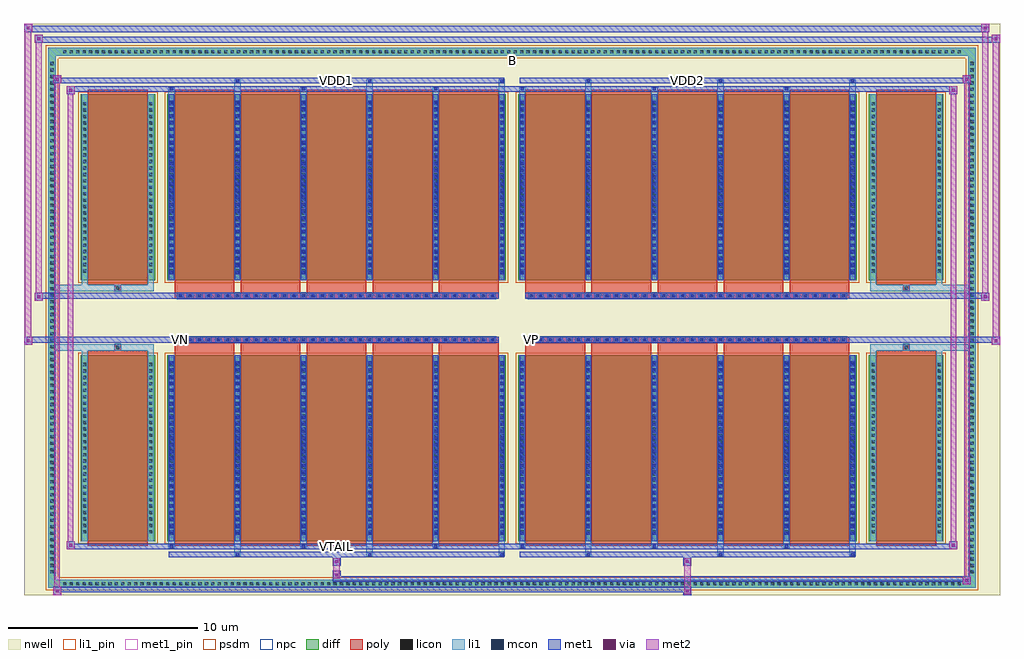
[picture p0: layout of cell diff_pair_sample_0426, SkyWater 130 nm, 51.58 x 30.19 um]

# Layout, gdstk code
import gdstk
lib = gdstk.Library(unit=1e-6, precision=5e-09)
def R(c, l, rs):  # rectangles x0, y0, x1, y1
    for r in rs: c.add(gdstk.rectangle(r[:2], r[2:], *l))
def A(c, l, x, y, w, h, nx, ny, dx, dy):  # array of equal rectangles
    R(c, l, [(x+i*dx, y+j*dy, x+i*dx+w, y+j*dy+h) for i in range(nx) for j in range(ny)])
def P(c, l, *ps):  # polygons
    for p in ps: c.add(gdstk.Polygon(p, *l))
nwell = (64, 20)
diff = (65, 20)
poly = (66, 20)
licon = (66, 44)
li1_pin = (67, 16)
li1 = (67, 20)
mcon = (67, 44)
met1_pin = (68, 16)
met1 = (68, 20)
via = (68, 44)
met2 = (69, 20)
psdm = (94, 20)
npc = (95, 20)

diff_pair_sample_0426 = lib.new_cell('diff_pair_sample_0426')
R(diff_pair_sample_0426, nwell, [(-25.79,-14.66,25.79,15.53), (-23.11,-12.85,-0.01,-0.795), (0.01,-12.85,23.11,-0.795), (-23.11,0.795,-0.01,12.85), (0.01,0.795,23.11,12.85)])
A(diff_pair_sample_0426, diff, -23.835, -14.26, 0.41, 0.41, 140, 2, 0.34, 28.11)
A(diff_pair_sample_0426, diff, -24.52, -13.635, 0.41, 0.41, 1, 80, 0, 0.34)
A(diff_pair_sample_0426, diff, 24.11, -13.635, 0.41, 0.41, 1, 80, 0, 0.34)
R(diff_pair_sample_0426, diff, [(-23.835,-14.26,23.835,-13.85), (-24.52,-13.635,-24.11,13.635), (24.11,-13.635,24.52,13.635), (-22.8,-11.805,-18.86,-1.985), (-18.22,-11.805,-0.32,-1.985), (0.32,-11.805,18.22,-1.985), (18.86,-11.805,22.8,-1.985), (-22.8,1.985,-18.86,11.805), (-18.22,1.985,-0.32,11.805), (0.32,1.985,18.22,11.805), (18.86,1.985,22.8,11.805), (-23.835,13.85,23.835,14.26)])
P(diff_pair_sample_0426, diff, [(24.52,14.26),(-24.52,14.26),(-24.52,-13.85),(-24.11,-13.85),(-24.11,13.85),(24.11,13.85),(24.11,-13.85),(-24.11,-13.85),(-24.52,-13.85),(-24.52,-14.26),(24.52,-14.26)])
A(diff_pair_sample_0426, poly, -17.83, -12.055, 3.16, 10.32, 5, 2, 3.49, 13.79)
A(diff_pair_sample_0426, poly, 0.71, -12.055, 3.16, 10.32, 5, 2, 3.49, 13.79)
A(diff_pair_sample_0426, poly, -17.83, -1.735, 3.16, 0.41, 5, 2, 3.49, 3.06)
A(diff_pair_sample_0426, poly, 0.71, -1.735, 3.16, 0.41, 5, 2, 3.49, 3.06)
A(diff_pair_sample_0426, poly, -17.685, -1.325, 0.33, 0.33, 34, 2, 0.5, 2.32)
A(diff_pair_sample_0426, poly, 0.855, -1.325, 0.33, 0.33, 34, 2, 0.5, 2.32)
R(diff_pair_sample_0426, poly, [(-22.41,-12.055,-19.25,-1.735), (19.25,-12.055,22.41,-1.735), (-20.995,-1.735,-20.665,-1.405), (-20.995,-1.735,-20.665,-1.405), (20.665,-1.735,20.995,-1.405), (20.665,-1.735,20.995,-1.405), (-17.83,-1.325,-0.71,-0.995), (0.71,-1.325,17.83,-0.995), (-17.83,0.995,-0.71,1.325), (0.71,0.995,17.83,1.325), (-20.995,1.405,-20.665,1.735), (-20.995,1.405,-20.665,1.735), (20.665,1.405,20.995,1.735), (20.665,1.405,20.995,1.735), (-22.41,1.735,-19.25,12.055), (19.25,1.735,22.41,12.055)])
A(diff_pair_sample_0426, licon, -23.715, -14.14, 0.17, 0.17, 140, 2, 0.34, 28.11)
A(diff_pair_sample_0426, licon, -24.4, -13.515, 0.17, 0.17, 1, 80, 0, 0.34)
A(diff_pair_sample_0426, licon, 24.23, -13.515, 0.17, 0.17, 1, 80, 0, 0.34)
A(diff_pair_sample_0426, licon, -22.66, -11.4, 0.17, 0.17, 1, 27, 0, 0.34)
A(diff_pair_sample_0426, licon, -19.17, -11.4, 0.17, 0.17, 1, 27, 0, 0.34)
A(diff_pair_sample_0426, licon, -18.08, -11.4, 0.17, 0.17, 6, 27, 3.49, 0.34)
A(diff_pair_sample_0426, licon, 0.46, -11.4, 0.17, 0.17, 6, 27, 3.49, 0.34)
A(diff_pair_sample_0426, licon, 19, -11.4, 0.17, 0.17, 1, 27, 0, 0.34)
A(diff_pair_sample_0426, licon, 22.49, -11.4, 0.17, 0.17, 1, 27, 0, 0.34)
A(diff_pair_sample_0426, licon, -17.605, -1.245, 0.17, 0.17, 34, 2, 0.5, 2.32)
A(diff_pair_sample_0426, licon, 0.935, -1.245, 0.17, 0.17, 34, 2, 0.5, 2.32)
A(diff_pair_sample_0426, licon, -22.66, 2.39, 0.17, 0.17, 1, 27, 0, 0.34)
A(diff_pair_sample_0426, licon, -19.17, 2.39, 0.17, 0.17, 1, 27, 0, 0.34)
A(diff_pair_sample_0426, licon, -18.08, 2.39, 0.17, 0.17, 6, 27, 3.49, 0.34)
A(diff_pair_sample_0426, licon, 0.46, 2.39, 0.17, 0.17, 6, 27, 3.49, 0.34)
A(diff_pair_sample_0426, licon, 19, 2.39, 0.17, 0.17, 1, 27, 0, 0.34)
A(diff_pair_sample_0426, licon, 22.49, 2.39, 0.17, 0.17, 1, 27, 0, 0.34)
R(diff_pair_sample_0426, licon, [(-20.915,-1.655,-20.745,-1.485), (20.745,-1.655,20.915,-1.485), (-20.915,1.485,-20.745,1.655), (20.745,1.485,20.915,1.655)])
R(diff_pair_sample_0426, li1_pin, [(-0.25,13.35,0.25,13.85)])
A(diff_pair_sample_0426, li1, -23.795, -14.22, 0.33, 0.33, 140, 2, 0.34, 28.11)
A(diff_pair_sample_0426, li1, -24.48, -13.595, 0.33, 0.33, 1, 80, 0, 0.34)
A(diff_pair_sample_0426, li1, 24.15, -13.595, 0.33, 0.33, 1, 80, 0, 0.34)
A(diff_pair_sample_0426, li1, -14.67, -12.61, 0.33, 0.805, 3, 2, 6.98, 24.415)
A(diff_pair_sample_0426, li1, -14.59, -12.61, 0.17, 0.17, 3, 2, 6.98, 25.05)
A(diff_pair_sample_0426, li1, 3.87, -12.61, 0.33, 0.805, 3, 2, 6.98, 24.415)
A(diff_pair_sample_0426, li1, 3.95, -12.61, 0.17, 0.17, 3, 2, 6.98, 25.05)
A(diff_pair_sample_0426, li1, -18.16, -12.18, 0.33, 0.375, 3, 2, 6.98, 23.985)
A(diff_pair_sample_0426, li1, -18.08, -12.18, 0.17, 0.17, 3, 2, 6.98, 24.19)
A(diff_pair_sample_0426, li1, 0.38, -12.18, 0.33, 0.375, 3, 2, 6.98, 23.985)
A(diff_pair_sample_0426, li1, 0.46, -12.18, 0.17, 0.17, 3, 2, 6.98, 24.19)
A(diff_pair_sample_0426, li1, -18.16, -11.805, 0.33, 9.82, 6, 2, 3.49, 13.79)
A(diff_pair_sample_0426, li1, 0.38, -11.805, 0.33, 9.82, 6, 2, 3.49, 13.79)
A(diff_pair_sample_0426, li1, -22.74, -11.48, 0.33, 0.33, 1, 27, 0, 0.34)
A(diff_pair_sample_0426, li1, -19.25, -11.48, 0.33, 0.33, 1, 27, 0, 0.34)
A(diff_pair_sample_0426, li1, -18.16, -11.48, 0.33, 0.33, 6, 27, 3.49, 0.34)
A(diff_pair_sample_0426, li1, -18.08, -11.48, 0.17, 0.17, 6, 26, 3.49, 0.36)
A(diff_pair_sample_0426, li1, -18.08, -11.48, 0.17, 9.17, 6, 2, 3.49, 13.79)
A(diff_pair_sample_0426, li1, 0.38, -11.48, 0.33, 0.33, 6, 27, 3.49, 0.34)
A(diff_pair_sample_0426, li1, 0.46, -11.48, 0.17, 0.17, 6, 26, 3.49, 0.36)
A(diff_pair_sample_0426, li1, 0.46, -11.48, 0.17, 9.17, 6, 2, 3.49, 13.79)
A(diff_pair_sample_0426, li1, 18.92, -11.48, 0.33, 0.33, 1, 27, 0, 0.34)
A(diff_pair_sample_0426, li1, 22.41, -11.48, 0.33, 0.33, 1, 27, 0, 0.34)
A(diff_pair_sample_0426, li1, -17.685, -1.325, 0.33, 0.33, 34, 2, 0.5, 2.32)
A(diff_pair_sample_0426, li1, 0.855, -1.325, 0.33, 0.33, 34, 2, 0.5, 2.32)
A(diff_pair_sample_0426, li1, -22.74, 2.31, 0.33, 0.33, 1, 27, 0, 0.34)
A(diff_pair_sample_0426, li1, -19.25, 2.31, 0.33, 0.33, 1, 27, 0, 0.34)
A(diff_pair_sample_0426, li1, -18.16, 2.31, 0.33, 0.33, 6, 27, 3.49, 0.34)
A(diff_pair_sample_0426, li1, -18.08, 2.31, 0.17, 0.17, 6, 26, 3.49, 0.36)
A(diff_pair_sample_0426, li1, 0.38, 2.31, 0.33, 0.33, 6, 27, 3.49, 0.34)
A(diff_pair_sample_0426, li1, 0.46, 2.31, 0.17, 0.17, 6, 26, 3.49, 0.36)
A(diff_pair_sample_0426, li1, 18.92, 2.31, 0.33, 0.33, 1, 27, 0, 0.34)
A(diff_pair_sample_0426, li1, 22.41, 2.31, 0.33, 0.33, 1, 27, 0, 0.34)
R(diff_pair_sample_0426, li1, [(-24.52,-14.26,-24.11,-13.85), (-24.52,-14.26,-24.11,-13.85), (-24.11,-14.26,24.11,-13.85), (24.11,-14.26,24.52,-13.85), (24.11,-14.26,24.52,-13.85), (-24.52,-13.85,-24.11,13.85), (24.11,-13.85,24.52,13.85), (-22.74,-11.805,-22.41,-1.985), (-19.25,-11.805,-18.92,-1.985), (18.92,-11.805,19.25,-1.985), (22.41,-11.805,22.74,-1.985), (-22.74,-1.985,-22.41,-1.405), (-19.25,-1.985,-18.92,-1.405), (18.92,-1.985,19.25,-1.405), (22.41,-1.985,22.74,-1.405), (-24.52,-1.735,-20.995,-1.405), (-22.74,-1.735,-20.995,-1.405), (-20.995,-1.735,-20.665,-1.405), (-20.665,-1.735,-18.92,-1.405), (18.92,-1.735,20.665,-1.405), (20.665,-1.735,20.995,-1.405), (20.665,-1.735,24.52,-1.405), (20.995,-1.735,22.74,-1.405), (-24.52,1.405,-20.995,1.735), (-22.74,1.405,-20.995,1.735), (-22.74,1.405,-22.41,1.985), (-20.995,1.405,-20.665,1.735), (-20.665,1.405,-18.92,1.735), (-19.25,1.405,-18.92,1.985), (18.92,1.405,20.665,1.735), (18.92,1.405,19.25,1.985), (20.665,1.405,20.995,1.735), (20.665,1.405,24.52,1.735), (20.995,1.405,22.74,1.735), (22.41,1.405,22.74,1.985), (-22.74,1.985,-22.41,11.805), (-19.25,1.985,-18.92,11.805), (18.92,1.985,19.25,11.805), (22.41,1.985,22.74,11.805), (-24.52,13.85,-24.11,14.26), (-24.52,13.85,-24.11,14.26), (-24.11,13.85,24.11,14.26), (24.11,13.85,24.52,14.26), (24.11,13.85,24.52,14.26)])
A(diff_pair_sample_0426, mcon, -14.59, -12.61, 0.17, 0.17, 3, 2, 6.98, 25.05)
A(diff_pair_sample_0426, mcon, 3.95, -12.61, 0.17, 0.17, 3, 2, 6.98, 25.05)
A(diff_pair_sample_0426, mcon, -18.08, -12.18, 0.17, 0.17, 3, 2, 6.98, 24.19)
A(diff_pair_sample_0426, mcon, 0.46, -12.18, 0.17, 0.17, 3, 2, 6.98, 24.19)
A(diff_pair_sample_0426, mcon, -18.08, -11.48, 0.17, 0.17, 6, 26, 3.49, 0.36)
A(diff_pair_sample_0426, mcon, 0.46, -11.48, 0.17, 0.17, 6, 26, 3.49, 0.36)
A(diff_pair_sample_0426, mcon, -17.605, -1.245, 0.17, 0.17, 34, 2, 0.5, 2.32)
A(diff_pair_sample_0426, mcon, 0.935, -1.245, 0.17, 0.17, 34, 2, 0.5, 2.32)
A(diff_pair_sample_0426, mcon, -18.08, 2.31, 0.17, 0.17, 6, 26, 3.49, 0.36)
A(diff_pair_sample_0426, mcon, 0.46, 2.31, 0.17, 0.17, 6, 26, 3.49, 0.36)
R(diff_pair_sample_0426, met1_pin, [(-9.405,-12.22,-9.135,-11.95), (-17.655,-1.285,-17.385,-1.015), (0.885,-1.285,1.155,-1.015), (-9.405,12.4,-9.135,12.67), (9.135,12.4,9.405,12.67)])
A(diff_pair_sample_0426, met1, -14.65, -12.67, 0.29, 0.29, 3, 2, 6.98, 25.05)
A(diff_pair_sample_0426, met1, 3.89, -12.67, 0.29, 0.29, 3, 2, 6.98, 25.05)
A(diff_pair_sample_0426, met1, -18.14, -12.24, 0.29, 0.29, 3, 2, 6.98, 24.19)
A(diff_pair_sample_0426, met1, 0.4, -12.24, 0.29, 0.29, 3, 2, 6.98, 24.19)
A(diff_pair_sample_0426, met1, -18.14, -11.805, 0.29, 9.82, 6, 2, 3.49, 13.79)
A(diff_pair_sample_0426, met1, 0.4, -11.805, 0.29, 9.82, 6, 2, 3.49, 13.79)
A(diff_pair_sample_0426, met1, -18.14, -11.54, 0.29, 0.29, 6, 26, 3.49, 0.36)
A(diff_pair_sample_0426, met1, 0.4, -11.54, 0.29, 0.29, 6, 26, 3.49, 0.36)
A(diff_pair_sample_0426, met1, -17.665, -1.305, 0.29, 0.29, 34, 2, 0.5, 2.32)
A(diff_pair_sample_0426, met1, 0.875, -1.305, 0.29, 0.29, 34, 2, 0.5, 2.32)
A(diff_pair_sample_0426, met1, -18.14, 2.25, 0.29, 0.29, 6, 26, 3.49, 0.36)
A(diff_pair_sample_0426, met1, 0.4, 2.25, 0.29, 0.29, 6, 26, 3.49, 0.36)
R(diff_pair_sample_0426, met1, [(-24.25,-14.66,-23.82,-14.23), (9.055,-14.66,9.485,-14.23), (-24.25,-14.52,9.485,-14.23), (23.82,-14.09,24.25,-13.66), (-9.485,-13.95,24.25,-13.66), (-9.485,-13.81,-9.055,-13.38), (-9.485,-13.1,-9.055,-12.67), (9.055,-13.1,9.485,-12.67), (-18.14,-12.67,-0.4,-12.38), (0.4,-12.67,18.14,-12.38), (-23.54,-12.24,-23.11,-11.81), (-23.54,-12.24,-18.14,-11.95), (-18.14,-12.24,-0.4,-11.95), (-0.4,-12.24,0.4,-11.95), (0.4,-12.24,18.14,-11.95), (18.14,-12.24,23.54,-11.95), (23.11,-12.24,23.54,-11.81), (-25.79,-1.425,-25.36,-0.995), (25.36,-1.425,25.79,-0.995), (-25.79,-1.325,-0.71,-0.995), (-17.83,-1.325,-0.71,-0.995), (0.71,-1.325,17.83,-0.995), (0.71,-1.325,25.79,-0.995), (-25.22,0.895,-24.79,1.325), (24.79,0.895,25.22,1.325), (-25.22,0.995,-17.83,1.325), (-17.83,0.995,-0.71,1.325), (0.71,0.995,17.83,1.325), (17.83,0.995,25.22,1.325), (-23.54,11.81,-23.11,12.24), (23.11,11.81,23.54,12.24), (-23.54,11.95,-18.14,12.24), (-18.14,11.95,-0.4,12.24), (-0.4,11.95,0.4,12.24), (0.4,11.95,18.14,12.24), (18.14,11.95,23.54,12.24), (-24.25,12.38,-23.82,12.81), (-24.25,12.38,-18.14,12.67), (-18.14,12.38,-0.4,12.67), (0.4,12.38,18.14,12.67), (18.14,12.38,24.25,12.67), (23.82,12.38,24.25,12.81), (-25.22,14.53,-24.79,14.96), (-25.22,14.53,-23.11,14.86), (-23.11,14.53,23.11,14.86), (23.11,14.53,25.79,14.86), (25.36,14.53,25.79,14.96), (-25.79,15.1,-25.36,15.53), (-25.79,15.1,-23.11,15.43), (-23.11,15.1,23.11,15.43), (23.11,15.1,25.22,15.43), (24.79,15.1,25.22,15.53)])
R(diff_pair_sample_0426, via, [(-24.11,-14.52,-23.96,-14.37), (9.195,-14.52,9.345,-14.37), (23.96,-13.95,24.11,-13.8), (-9.345,-13.67,-9.195,-13.52), (-9.345,-12.96,-9.195,-12.81), (9.195,-12.96,9.345,-12.81), (-23.4,-12.1,-23.25,-11.95), (23.25,-12.1,23.4,-11.95), (-25.65,-1.285,-25.5,-1.135), (25.5,-1.285,25.65,-1.135), (-25.08,1.035,-24.93,1.185), (24.93,1.035,25.08,1.185), (-23.4,11.95,-23.25,12.1), (23.25,11.95,23.4,12.1), (-24.11,12.52,-23.96,12.67), (23.96,12.52,24.11,12.67), (-25.08,14.67,-24.93,14.82), (25.5,14.67,25.65,14.82), (-25.65,15.24,-25.5,15.39), (24.93,15.24,25.08,15.39)])
R(diff_pair_sample_0426, met2, [(-24.25,-14.66,-23.82,-14.23), (-24.18,-14.66,-23.89,12.81), (-23.89,-14.66,-23.82,-14.23), (-24.2,-14.61,-23.87,-14.28), (9.105,-14.61,9.435,-14.28), (9.105,-14.28,9.435,-13.05), (23.82,-14.09,24.25,-13.66), (23.89,-14.09,24.18,12.81), (24.18,-14.09,24.25,-13.66), (23.87,-14.04,24.2,-13.71), (-9.435,-13.76,-9.105,-13.43), (-9.435,-13.43,-9.105,-13.05), (-9.435,-13.05,-9.105,-12.72), (9.105,-13.05,9.435,-12.72), (-23.54,-12.24,-23.11,-11.81), (-23.47,-12.24,-23.18,12.24), (-23.18,-12.24,-23.11,-11.81), (23.11,-12.24,23.54,-11.81), (23.18,-12.24,23.47,12.24), (23.47,-12.24,23.54,-11.81), (-23.49,-12.19,-23.16,-11.86), (23.16,-12.19,23.49,-11.86), (-25.79,-1.425,-25.36,-0.995), (-25.74,-1.425,-25.41,15.53), (-25.41,-1.425,-25.36,-0.995), (25.36,-1.425,25.79,-0.995), (25.41,-1.425,25.74,14.96), (25.74,-1.425,25.79,-0.995), (-25.74,-1.375,-25.41,-1.045), (25.41,-1.375,25.74,-1.045), (-25.22,0.895,-24.79,1.325), (-25.17,0.895,-24.84,14.96), (-24.84,0.895,-24.79,1.325), (24.79,0.895,25.22,1.325), (24.84,0.895,25.17,15.53), (25.17,0.895,25.22,1.325), (-25.17,0.945,-24.84,1.275), (24.84,0.945,25.17,1.275), (-23.54,11.81,-23.11,12.24), (-23.18,11.81,-23.11,12.24), (23.11,11.81,23.54,12.24), (23.47,11.81,23.54,12.24), (-23.49,11.86,-23.16,12.19), (23.16,11.86,23.49,12.19), (-24.25,12.38,-23.82,12.81), (-23.89,12.38,-23.82,12.81), (23.82,12.38,24.25,12.81), (24.18,12.38,24.25,12.81), (-24.2,12.43,-23.87,12.76), (23.87,12.43,24.2,12.76), (-25.22,14.53,-24.79,14.96), (-24.84,14.53,-24.79,14.96), (25.36,14.53,25.79,14.96), (25.74,14.53,25.79,14.96), (-25.17,14.58,-24.84,14.91), (25.41,14.58,25.74,14.91), (-25.79,15.1,-25.36,15.53), (-25.41,15.1,-25.36,15.53), (24.79,15.1,25.22,15.53), (25.17,15.1,25.22,15.53), (-25.74,15.15,-25.41,15.48), (24.84,15.15,25.17,15.48)])
R(diff_pair_sample_0426, psdm, [(-22.93,-11.935,-18.73,-1.855), (-18.35,-11.935,-0.19,-1.855), (0.19,-11.935,18.35,-1.855), (18.73,-11.935,22.93,-1.855), (-22.93,1.855,-18.73,11.935), (-18.35,1.855,-0.19,11.935), (0.19,1.855,18.35,11.935), (18.73,1.855,22.93,11.935)])
P(diff_pair_sample_0426, psdm, [(24.65,14.39),(-24.65,14.39),(-24.65,-13.72),(-23.98,-13.72),(-23.98,13.72),(23.98,13.72),(23.98,-13.72),(-23.98,-13.72),(-24.65,-13.72),(-24.65,-14.39),(24.65,-14.39)])
A(diff_pair_sample_0426, npc, -17.705, -1.345, 0.37, 0.37, 34, 2, 0.5, 2.32)
A(diff_pair_sample_0426, npc, 0.835, -1.345, 0.37, 0.37, 34, 2, 0.5, 2.32)
R(diff_pair_sample_0426, npc, [(-21.015,-1.755,-20.645,-1.385), (20.645,-1.755,21.015,-1.385), (-17.705,-1.345,-16.835,-0.975), (-17.705,-1.345,-16.835,-0.975), (-17.205,-1.345,-16.335,-0.975), (-17.205,-1.345,-16.335,-0.975), (-16.705,-1.345,-15.835,-0.975), (-16.705,-1.345,-15.835,-0.975), (-16.205,-1.345,-15.335,-0.975), (-16.205,-1.345,-15.335,-0.975), (-15.705,-1.345,-14.835,-0.975), (-15.705,-1.345,-14.835,-0.975), (-15.205,-1.345,-14.335,-0.975), (-15.205,-1.345,-14.335,-0.975), (-14.705,-1.345,-13.835,-0.975), (-14.705,-1.345,-13.835,-0.975), (-14.205,-1.345,-13.335,-0.975), (-14.205,-1.345,-13.335,-0.975), (-13.705,-1.345,-12.835,-0.975), (-13.705,-1.345,-12.835,-0.975), (-13.205,-1.345,-12.335,-0.975), (-13.205,-1.345,-12.335,-0.975), (-12.705,-1.345,-11.835,-0.975), (-12.705,-1.345,-11.835,-0.975), (-12.205,-1.345,-11.335,-0.975), (-12.205,-1.345,-11.335,-0.975), (-11.705,-1.345,-10.835,-0.975), (-11.705,-1.345,-10.835,-0.975), (-11.205,-1.345,-10.335,-0.975), (-11.205,-1.345,-10.335,-0.975), (-10.705,-1.345,-9.835,-0.975), (-10.705,-1.345,-9.835,-0.975), (-10.205,-1.345,-9.335,-0.975), (-10.205,-1.345,-9.335,-0.975), (-9.705,-1.345,-8.835,-0.975), (-9.705,-1.345,-8.835,-0.975), (-9.205,-1.345,-8.335,-0.975), (-9.205,-1.345,-8.335,-0.975), (-8.705,-1.345,-7.835,-0.975), (-8.705,-1.345,-7.835,-0.975), (-8.205,-1.345,-7.335,-0.975), (-8.205,-1.345,-7.335,-0.975), (-7.705,-1.345,-6.835,-0.975), (-7.705,-1.345,-6.835,-0.975), (-7.205,-1.345,-6.335,-0.975), (-7.205,-1.345,-6.335,-0.975), (-6.705,-1.345,-5.835,-0.975), (-6.705,-1.345,-5.835,-0.975), (-6.205,-1.345,-5.335,-0.975), (-6.205,-1.345,-5.335,-0.975), (-5.705,-1.345,-4.835,-0.975), (-5.705,-1.345,-4.835,-0.975), (-5.205,-1.345,-4.335,-0.975), (-5.205,-1.345,-4.335,-0.975), (-4.705,-1.345,-3.835,-0.975), (-4.705,-1.345,-3.835,-0.975), (-4.205,-1.345,-3.335,-0.975), (-4.205,-1.345,-3.335,-0.975), (-3.705,-1.345,-2.835,-0.975), (-3.705,-1.345,-2.835,-0.975), (-3.205,-1.345,-2.335,-0.975), (-3.205,-1.345,-2.335,-0.975), (-2.705,-1.345,-1.835,-0.975), (-2.705,-1.345,-1.835,-0.975), (-2.205,-1.345,-1.335,-0.975), (-2.205,-1.345,-1.335,-0.975), (-1.705,-1.345,-0.835,-0.975), (-1.705,-1.345,-0.835,-0.975), (0.835,-1.345,1.705,-0.975), (0.835,-1.345,1.705,-0.975), (1.335,-1.345,2.205,-0.975), (1.335,-1.345,2.205,-0.975), (1.835,-1.345,2.705,-0.975), (1.835,-1.345,2.705,-0.975), (2.335,-1.345,3.205,-0.975), (2.335,-1.345,3.205,-0.975), (2.835,-1.345,3.705,-0.975), (2.835,-1.345,3.705,-0.975), (3.335,-1.345,4.205,-0.975), (3.335,-1.345,4.205,-0.975), (3.835,-1.345,4.705,-0.975), (3.835,-1.345,4.705,-0.975), (4.335,-1.345,5.205,-0.975), (4.335,-1.345,5.205,-0.975), (4.835,-1.345,5.705,-0.975), (4.835,-1.345,5.705,-0.975), (5.335,-1.345,6.205,-0.975), (5.335,-1.345,6.205,-0.975), (5.835,-1.345,6.705,-0.975), (5.835,-1.345,6.705,-0.975), (6.335,-1.345,7.205,-0.975), (6.335,-1.345,7.205,-0.975), (6.835,-1.345,7.705,-0.975), (6.835,-1.345,7.705,-0.975), (7.335,-1.345,8.205,-0.975), (7.335,-1.345,8.205,-0.975), (7.835,-1.345,8.705,-0.975), (7.835,-1.345,8.705,-0.975), (8.335,-1.345,9.205,-0.975), (8.335,-1.345,9.205,-0.975), (8.835,-1.345,9.705,-0.975), (8.835,-1.345,9.705,-0.975), (9.335,-1.345,10.205,-0.975), (9.335,-1.345,10.205,-0.975), (9.835,-1.345,10.705,-0.975), (9.835,-1.345,10.705,-0.975), (10.335,-1.345,11.205,-0.975), (10.335,-1.345,11.205,-0.975), (10.835,-1.345,11.705,-0.975), (10.835,-1.345,11.705,-0.975), (11.335,-1.345,12.205,-0.975), (11.335,-1.345,12.205,-0.975), (11.835,-1.345,12.705,-0.975), (11.835,-1.345,12.705,-0.975), (12.335,-1.345,13.205,-0.975), (12.335,-1.345,13.205,-0.975), (12.835,-1.345,13.705,-0.975), (12.835,-1.345,13.705,-0.975), (13.335,-1.345,14.205,-0.975), (13.335,-1.345,14.205,-0.975), (13.835,-1.345,14.705,-0.975), (13.835,-1.345,14.705,-0.975), (14.335,-1.345,15.205,-0.975), (14.335,-1.345,15.205,-0.975), (14.835,-1.345,15.705,-0.975), (14.835,-1.345,15.705,-0.975), (15.335,-1.345,16.205,-0.975), (15.335,-1.345,16.205,-0.975), (15.835,-1.345,16.705,-0.975), (15.835,-1.345,16.705,-0.975), (16.335,-1.345,17.205,-0.975), (16.335,-1.345,17.205,-0.975), (16.835,-1.345,17.705,-0.975), (16.835,-1.345,17.705,-0.975), (-17.705,0.975,-16.835,1.345), (-17.705,0.975,-16.835,1.345), (-17.205,0.975,-16.335,1.345), (-17.205,0.975,-16.335,1.345), (-16.705,0.975,-15.835,1.345), (-16.705,0.975,-15.835,1.345), (-16.205,0.975,-15.335,1.345), (-16.205,0.975,-15.335,1.345), (-15.705,0.975,-14.835,1.345), (-15.705,0.975,-14.835,1.345), (-15.205,0.975,-14.335,1.345), (-15.205,0.975,-14.335,1.345), (-14.705,0.975,-13.835,1.345), (-14.705,0.975,-13.835,1.345), (-14.205,0.975,-13.335,1.345), (-14.205,0.975,-13.335,1.345), (-13.705,0.975,-12.835,1.345), (-13.705,0.975,-12.835,1.345), (-13.205,0.975,-12.335,1.345), (-13.205,0.975,-12.335,1.345), (-12.705,0.975,-11.835,1.345), (-12.705,0.975,-11.835,1.345), (-12.205,0.975,-11.335,1.345), (-12.205,0.975,-11.335,1.345), (-11.705,0.975,-10.835,1.345), (-11.705,0.975,-10.835,1.345), (-11.205,0.975,-10.335,1.345), (-11.205,0.975,-10.335,1.345), (-10.705,0.975,-9.835,1.345), (-10.705,0.975,-9.835,1.345), (-10.205,0.975,-9.335,1.345), (-10.205,0.975,-9.335,1.345), (-9.705,0.975,-8.835,1.345), (-9.705,0.975,-8.835,1.345), (-9.205,0.975,-8.335,1.345), (-9.205,0.975,-8.335,1.345), (-8.705,0.975,-7.835,1.345), (-8.705,0.975,-7.835,1.345), (-8.205,0.975,-7.335,1.345), (-8.205,0.975,-7.335,1.345), (-7.705,0.975,-6.835,1.345), (-7.705,0.975,-6.835,1.345), (-7.205,0.975,-6.335,1.345), (-7.205,0.975,-6.335,1.345), (-6.705,0.975,-5.835,1.345), (-6.705,0.975,-5.835,1.345), (-6.205,0.975,-5.335,1.345), (-6.205,0.975,-5.335,1.345), (-5.705,0.975,-4.835,1.345), (-5.705,0.975,-4.835,1.345), (-5.205,0.975,-4.335,1.345), (-5.205,0.975,-4.335,1.345), (-4.705,0.975,-3.835,1.345), (-4.705,0.975,-3.835,1.345), (-4.205,0.975,-3.335,1.345), (-4.205,0.975,-3.335,1.345), (-3.705,0.975,-2.835,1.345), (-3.705,0.975,-2.835,1.345), (-3.205,0.975,-2.335,1.345), (-3.205,0.975,-2.335,1.345), (-2.705,0.975,-1.835,1.345), (-2.705,0.975,-1.835,1.345), (-2.205,0.975,-1.335,1.345), (-2.205,0.975,-1.335,1.345), (-1.705,0.975,-0.835,1.345), (-1.705,0.975,-0.835,1.345), (0.835,0.975,1.705,1.345), (0.835,0.975,1.705,1.345), (1.335,0.975,2.205,1.345), (1.335,0.975,2.205,1.345), (1.835,0.975,2.705,1.345), (1.835,0.975,2.705,1.345), (2.335,0.975,3.205,1.345), (2.335,0.975,3.205,1.345), (2.835,0.975,3.705,1.345), (2.835,0.975,3.705,1.345), (3.335,0.975,4.205,1.345), (3.335,0.975,4.205,1.345), (3.835,0.975,4.705,1.345), (3.835,0.975,4.705,1.345), (4.335,0.975,5.205,1.345), (4.335,0.975,5.205,1.345), (4.835,0.975,5.705,1.345), (4.835,0.975,5.705,1.345), (5.335,0.975,6.205,1.345), (5.335,0.975,6.205,1.345), (5.835,0.975,6.705,1.345), (5.835,0.975,6.705,1.345), (6.335,0.975,7.205,1.345), (6.335,0.975,7.205,1.345), (6.835,0.975,7.705,1.345), (6.835,0.975,7.705,1.345), (7.335,0.975,8.205,1.345), (7.335,0.975,8.205,1.345), (7.835,0.975,8.705,1.345), (7.835,0.975,8.705,1.345), (8.335,0.975,9.205,1.345), (8.335,0.975,9.205,1.345), (8.835,0.975,9.705,1.345), (8.835,0.975,9.705,1.345), (9.335,0.975,10.205,1.345), (9.335,0.975,10.205,1.345), (9.835,0.975,10.705,1.345), (9.835,0.975,10.705,1.345), (10.335,0.975,11.205,1.345), (10.335,0.975,11.205,1.345), (10.835,0.975,11.705,1.345), (10.835,0.975,11.705,1.345), (11.335,0.975,12.205,1.345), (11.335,0.975,12.205,1.345), (11.835,0.975,12.705,1.345), (11.835,0.975,12.705,1.345), (12.335,0.975,13.205,1.345), (12.335,0.975,13.205,1.345), (12.835,0.975,13.705,1.345), (12.835,0.975,13.705,1.345), (13.335,0.975,14.205,1.345), (13.335,0.975,14.205,1.345), (13.835,0.975,14.705,1.345), (13.835,0.975,14.705,1.345), (14.335,0.975,15.205,1.345), (14.335,0.975,15.205,1.345), (14.835,0.975,15.705,1.345), (14.835,0.975,15.705,1.345), (15.335,0.975,16.205,1.345), (15.335,0.975,16.205,1.345), (15.835,0.975,16.705,1.345), (15.835,0.975,16.705,1.345), (16.335,0.975,17.205,1.345), (16.335,0.975,17.205,1.345), (16.835,0.975,17.705,1.345), (16.835,0.975,17.705,1.345), (-21.015,1.385,-20.645,1.755), (20.645,1.385,21.015,1.755)])
diff_pair_sample_0426.add(gdstk.Label('VTAIL', (-9.27,-12.085), layer=68, texttype=5))
diff_pair_sample_0426.add(gdstk.Label('VN', (-17.52,-1.15), layer=68, texttype=5))
diff_pair_sample_0426.add(gdstk.Label('VP', (1.02,-1.15), layer=68, texttype=5))
diff_pair_sample_0426.add(gdstk.Label('B', (0,13.6), layer=67, texttype=5))
diff_pair_sample_0426.add(gdstk.Label('VDD2', (9.27,12.535), layer=68, texttype=5))
diff_pair_sample_0426.add(gdstk.Label('VDD1', (-9.27,12.535), layer=68, texttype=5))

lib.write_gds('diff_pair_sample_0426.gds')
